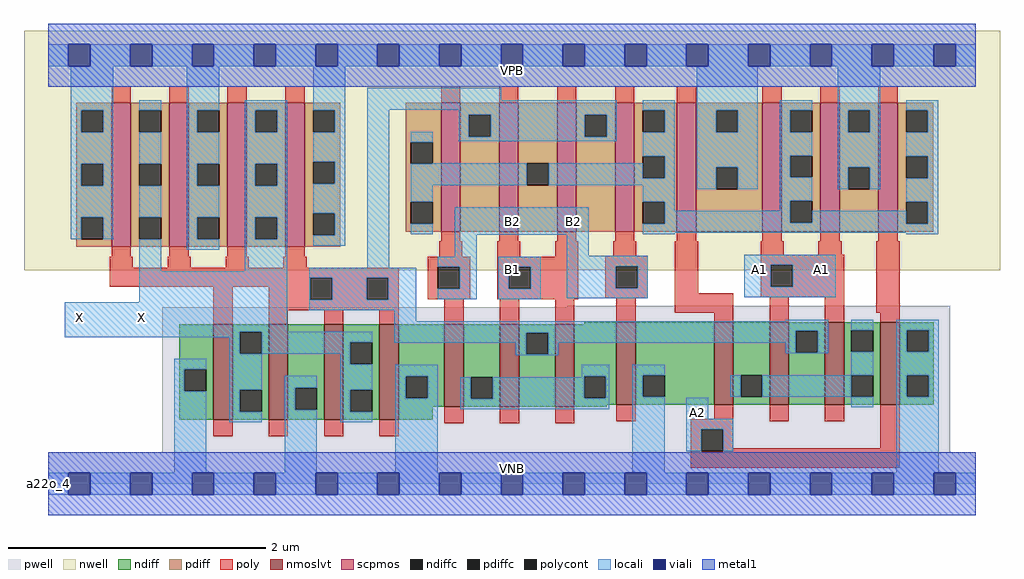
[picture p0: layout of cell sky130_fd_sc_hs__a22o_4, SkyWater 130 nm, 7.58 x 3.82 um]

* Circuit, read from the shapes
.subckt sky130_fd_sc_hs__a22o_4 A1 A2 B1 B2 VGND VNB VPB VPWR X
XM1 X n1 VGND VNB sky130_fd_pr__nfet_01v8_lvt w=0.74 l=0.15 m=4
XM2 n2 B2 VGND VNB sky130_fd_pr__nfet_01v8_lvt w=0.64 l=0.15 m=2
XM3 n1 B1 n2 VNB sky130_fd_pr__nfet_01v8_lvt w=0.64 l=0.15 m=2
XM4 n3 A2 VGND VNB sky130_fd_pr__nfet_01v8_lvt w=0.64 l=0.15 m=2
XM5 n1 A1 n3 VNB sky130_fd_pr__nfet_01v8_lvt w=0.64 l=0.15 m=2
XM6 X n1 VPWR VPB sky130_fd_pr__pfet_01v8 w=1.12 l=0.15 m=4
XM7 n1 B2 n4 VPB sky130_fd_pr__pfet_01v8 w=1 l=0.15 m=2
XM8 n4 B1 n1 VPB sky130_fd_pr__pfet_01v8 w=1 l=0.15 m=2
XM9 VPWR A2 n4 VPB sky130_fd_pr__pfet_01v8 w=1 l=0.15 m=2
XM10 n4 A1 VPWR VPB sky130_fd_pr__pfet_01v8 w=1 l=0.15 m=2
.ends

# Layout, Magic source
magic
tech sky130A
magscale 1 2
<< nwell >>
rect -38 332 1478 704
<< pwell >>
rect 806 274 1401 277
rect 177 49 1401 274
rect 0 0 1440 49
<< scpmos >>
rect 98 368 128 592
rect 188 368 218 592
rect 278 368 308 592
rect 368 368 398 592
rect 610 392 640 592
rect 700 392 730 592
rect 790 392 820 592
rect 880 392 910 592
rect 976 392 1006 592
rect 1109 392 1139 592
rect 1199 392 1229 592
rect 1289 392 1319 592
<< nmoslvt >>
rect 256 100 286 248
rect 342 100 372 248
rect 428 100 458 248
rect 514 100 544 248
rect 615 120 645 248
rect 701 120 731 248
rect 787 120 817 248
rect 882 123 912 251
rect 1034 123 1064 251
rect 1120 123 1150 251
rect 1206 123 1236 251
rect 1292 123 1322 251
<< ndiff >>
rect 832 248 882 251
rect 203 178 256 248
rect 203 144 211 178
rect 245 144 256 178
rect 203 100 256 144
rect 286 236 342 248
rect 286 202 297 236
rect 331 202 342 236
rect 286 146 342 202
rect 286 112 297 146
rect 331 112 342 146
rect 286 100 342 112
rect 372 149 428 248
rect 372 115 383 149
rect 417 115 428 149
rect 372 100 428 115
rect 458 220 514 248
rect 458 186 469 220
rect 503 186 514 220
rect 458 146 514 186
rect 458 112 469 146
rect 503 112 514 146
rect 458 100 514 112
rect 544 167 615 248
rect 544 133 555 167
rect 589 133 615 167
rect 544 120 615 133
rect 645 166 701 248
rect 645 132 656 166
rect 690 132 701 166
rect 645 120 701 132
rect 731 235 787 248
rect 731 201 742 235
rect 776 201 787 235
rect 731 120 787 201
rect 817 167 882 248
rect 817 133 832 167
rect 866 133 882 167
rect 817 123 882 133
rect 912 169 1034 251
rect 912 135 923 169
rect 957 135 1034 169
rect 912 123 1034 135
rect 1064 169 1120 251
rect 1064 135 1075 169
rect 1109 135 1120 169
rect 1064 123 1120 135
rect 1150 238 1206 251
rect 1150 204 1161 238
rect 1195 204 1206 238
rect 1150 123 1206 204
rect 1236 239 1292 251
rect 1236 205 1247 239
rect 1281 205 1292 239
rect 1236 169 1292 205
rect 1236 135 1247 169
rect 1281 135 1292 169
rect 1236 123 1292 135
rect 1322 239 1375 251
rect 1322 205 1333 239
rect 1367 205 1375 239
rect 1322 169 1375 205
rect 1322 135 1333 169
rect 1367 135 1375 169
rect 1322 123 1375 135
rect 817 120 867 123
rect 544 100 597 120
<< pdiff >>
rect 43 580 98 592
rect 43 546 51 580
rect 85 546 98 580
rect 43 497 98 546
rect 43 463 51 497
rect 85 463 98 497
rect 43 414 98 463
rect 43 380 51 414
rect 85 380 98 414
rect 43 368 98 380
rect 128 580 188 592
rect 128 546 141 580
rect 175 546 188 580
rect 128 497 188 546
rect 128 463 141 497
rect 175 463 188 497
rect 128 414 188 463
rect 128 380 141 414
rect 175 380 188 414
rect 128 368 188 380
rect 218 580 278 592
rect 218 546 231 580
rect 265 546 278 580
rect 218 497 278 546
rect 218 463 231 497
rect 265 463 278 497
rect 218 414 278 463
rect 218 380 231 414
rect 265 380 278 414
rect 218 368 278 380
rect 308 580 368 592
rect 308 546 321 580
rect 355 546 368 580
rect 308 497 368 546
rect 308 463 321 497
rect 355 463 368 497
rect 308 414 368 463
rect 308 380 321 414
rect 355 380 368 414
rect 308 368 368 380
rect 398 580 453 592
rect 398 546 411 580
rect 445 546 453 580
rect 398 500 453 546
rect 398 466 411 500
rect 445 466 453 500
rect 398 420 453 466
rect 398 386 411 420
rect 445 386 453 420
rect 555 531 610 592
rect 555 497 563 531
rect 597 497 610 531
rect 555 438 610 497
rect 555 404 563 438
rect 597 404 610 438
rect 555 392 610 404
rect 640 573 700 592
rect 640 539 653 573
rect 687 539 700 573
rect 640 392 700 539
rect 730 498 790 592
rect 730 464 743 498
rect 777 464 790 498
rect 730 392 790 464
rect 820 573 880 592
rect 820 539 833 573
rect 867 539 880 573
rect 820 392 880 539
rect 910 580 976 592
rect 910 546 923 580
rect 957 546 976 580
rect 910 509 976 546
rect 910 475 923 509
rect 957 475 976 509
rect 910 438 976 475
rect 910 404 923 438
rect 957 404 976 438
rect 910 392 976 404
rect 1006 580 1109 592
rect 1006 546 1037 580
rect 1071 546 1109 580
rect 1006 492 1109 546
rect 1006 458 1037 492
rect 1071 458 1109 492
rect 1006 392 1109 458
rect 1139 580 1199 592
rect 1139 546 1152 580
rect 1186 546 1199 580
rect 1139 510 1199 546
rect 1139 476 1152 510
rect 1186 476 1199 510
rect 1139 440 1199 476
rect 1139 406 1152 440
rect 1186 406 1199 440
rect 1139 392 1199 406
rect 1229 580 1289 592
rect 1229 546 1242 580
rect 1276 546 1289 580
rect 1229 492 1289 546
rect 1229 458 1242 492
rect 1276 458 1289 492
rect 1229 392 1289 458
rect 1319 580 1374 592
rect 1319 546 1332 580
rect 1366 546 1374 580
rect 1319 509 1374 546
rect 1319 475 1332 509
rect 1366 475 1374 509
rect 1319 438 1374 475
rect 1319 404 1332 438
rect 1366 404 1374 438
rect 1319 392 1374 404
rect 398 368 453 386
<< ndiffc >>
rect 211 144 245 178
rect 297 202 331 236
rect 297 112 331 146
rect 383 115 417 149
rect 469 186 503 220
rect 469 112 503 146
rect 555 133 589 167
rect 656 132 690 166
rect 742 201 776 235
rect 832 133 866 167
rect 923 135 957 169
rect 1075 135 1109 169
rect 1161 204 1195 238
rect 1247 205 1281 239
rect 1247 135 1281 169
rect 1333 205 1367 239
rect 1333 135 1367 169
<< pdiffc >>
rect 51 546 85 580
rect 51 463 85 497
rect 51 380 85 414
rect 141 546 175 580
rect 141 463 175 497
rect 141 380 175 414
rect 231 546 265 580
rect 231 463 265 497
rect 231 380 265 414
rect 321 546 355 580
rect 321 463 355 497
rect 321 380 355 414
rect 411 546 445 580
rect 411 466 445 500
rect 411 386 445 420
rect 563 497 597 531
rect 563 404 597 438
rect 653 539 687 573
rect 743 464 777 498
rect 833 539 867 573
rect 923 546 957 580
rect 923 475 957 509
rect 923 404 957 438
rect 1037 546 1071 580
rect 1037 458 1071 492
rect 1152 546 1186 580
rect 1152 476 1186 510
rect 1152 406 1186 440
rect 1242 546 1276 580
rect 1242 458 1276 492
rect 1332 546 1366 580
rect 1332 475 1366 509
rect 1332 404 1366 438
<< poly >>
rect 98 592 128 618
rect 188 592 218 618
rect 278 592 308 618
rect 368 592 398 618
rect 610 592 640 618
rect 700 592 730 618
rect 790 592 820 618
rect 880 592 910 618
rect 976 592 1006 618
rect 1109 592 1139 618
rect 1199 592 1229 618
rect 1289 592 1319 618
rect 610 377 640 392
rect 700 377 730 392
rect 790 377 820 392
rect 880 377 910 392
rect 976 377 1006 392
rect 1109 377 1139 392
rect 1199 377 1229 392
rect 1289 377 1319 392
rect 98 353 128 368
rect 188 353 218 368
rect 278 353 308 368
rect 368 353 398 368
rect 607 353 643 377
rect 697 353 733 377
rect 787 353 823 377
rect 877 354 913 377
rect 95 336 131 353
rect 185 336 221 353
rect 275 336 311 353
rect 365 336 401 353
rect 589 337 655 353
rect 95 320 544 336
rect 95 306 407 320
rect 256 248 286 306
rect 342 286 407 306
rect 441 286 494 320
rect 528 286 544 320
rect 589 303 605 337
rect 639 303 655 337
rect 589 287 655 303
rect 697 337 823 353
rect 697 303 715 337
rect 749 303 823 337
rect 697 287 823 303
rect 865 338 931 354
rect 865 304 881 338
rect 915 304 931 338
rect 865 288 931 304
rect 973 296 1009 377
rect 1106 356 1142 377
rect 1196 356 1232 377
rect 1106 340 1236 356
rect 1106 306 1122 340
rect 1156 306 1236 340
rect 342 270 544 286
rect 342 248 372 270
rect 428 248 458 270
rect 514 248 544 270
rect 615 248 645 287
rect 701 248 731 287
rect 787 248 817 287
rect 882 251 912 288
rect 973 266 1064 296
rect 1106 290 1236 306
rect 1034 251 1064 266
rect 1120 251 1150 290
rect 1206 251 1236 290
rect 1286 266 1322 377
rect 1292 251 1322 266
rect 256 74 286 100
rect 342 74 372 100
rect 428 74 458 100
rect 514 74 544 100
rect 615 94 645 120
rect 701 94 731 120
rect 787 94 817 120
rect 882 97 912 123
rect 1034 101 1064 123
rect 998 85 1064 101
rect 1120 97 1150 123
rect 1206 97 1236 123
rect 998 51 1014 85
rect 1048 55 1064 85
rect 1292 55 1322 123
rect 1048 51 1322 55
rect 998 25 1322 51
<< polycont >>
rect 407 286 441 320
rect 494 286 528 320
rect 605 303 639 337
rect 715 303 749 337
rect 881 304 915 338
rect 1122 306 1156 340
rect 1014 51 1048 85
<< locali >>
rect 0 649 31 683
rect 65 649 127 683
rect 161 649 223 683
rect 257 649 319 683
rect 353 649 415 683
rect 449 649 511 683
rect 545 649 607 683
rect 641 649 703 683
rect 737 649 799 683
rect 833 649 895 683
rect 929 649 991 683
rect 1025 649 1087 683
rect 1121 649 1183 683
rect 1217 649 1279 683
rect 1313 649 1375 683
rect 1409 649 1440 683
rect 35 580 101 649
rect 35 546 51 580
rect 85 546 101 580
rect 35 497 101 546
rect 35 463 51 497
rect 85 463 101 497
rect 35 414 101 463
rect 35 380 51 414
rect 85 380 101 414
rect 141 580 175 596
rect 141 497 175 546
rect 141 414 175 463
rect 141 330 175 380
rect 215 580 265 649
rect 215 546 231 580
rect 215 497 265 546
rect 215 463 231 497
rect 215 414 265 463
rect 215 380 231 414
rect 215 364 265 380
rect 305 580 371 596
rect 305 546 321 580
rect 355 546 371 580
rect 305 497 371 546
rect 305 463 321 497
rect 355 463 371 497
rect 305 414 371 463
rect 305 380 321 414
rect 355 380 371 414
rect 305 330 371 380
rect 411 580 461 649
rect 445 546 461 580
rect 411 500 461 546
rect 445 466 461 500
rect 411 420 461 466
rect 445 386 461 420
rect 411 370 461 386
rect 495 596 703 615
rect 495 581 883 596
rect 495 336 529 581
rect 637 573 883 581
rect 563 531 597 547
rect 637 539 653 573
rect 687 539 833 573
rect 867 539 883 573
rect 637 532 883 539
rect 923 580 973 596
rect 957 546 973 580
rect 923 509 973 546
rect 597 497 743 498
rect 563 464 743 497
rect 777 475 923 498
rect 957 475 973 509
rect 777 464 973 475
rect 563 438 597 464
rect 923 438 973 464
rect 1007 580 1102 649
rect 1007 546 1037 580
rect 1071 546 1102 580
rect 1007 492 1102 546
rect 1007 458 1037 492
rect 1071 458 1102 492
rect 1136 580 1186 596
rect 1136 546 1152 580
rect 1136 510 1186 546
rect 1136 476 1152 510
rect 563 388 597 404
rect 631 387 839 430
rect 957 424 973 438
rect 1136 440 1186 476
rect 1226 580 1292 649
rect 1226 546 1242 580
rect 1276 546 1292 580
rect 1226 492 1292 546
rect 1226 458 1242 492
rect 1276 458 1292 492
rect 1332 580 1382 596
rect 1366 546 1382 580
rect 1332 509 1382 546
rect 1366 475 1382 509
rect 1136 424 1152 440
rect 957 406 1152 424
rect 1332 438 1382 475
rect 1186 406 1332 424
rect 957 404 1332 406
rect 1366 404 1382 438
rect 923 390 1382 404
rect 923 388 973 390
rect 1332 388 1382 390
rect 631 353 665 387
rect 805 354 839 387
rect 605 337 665 353
rect 141 282 371 330
rect 25 236 371 282
rect 405 320 571 336
rect 405 286 407 320
rect 441 286 494 320
rect 528 286 571 320
rect 639 303 665 337
rect 605 287 665 303
rect 699 337 765 353
rect 699 303 715 337
rect 749 303 765 337
rect 699 287 765 303
rect 805 338 931 354
rect 805 304 881 338
rect 915 304 931 338
rect 805 288 931 304
rect 1081 340 1223 356
rect 1081 306 1122 340
rect 1156 306 1223 340
rect 1081 290 1223 306
rect 405 270 571 286
rect 537 253 571 270
rect 1145 253 1211 255
rect 537 238 1211 253
rect 25 228 297 236
rect 281 202 297 228
rect 331 220 503 236
rect 331 202 469 220
rect 195 178 245 194
rect 195 144 211 178
rect 195 17 245 144
rect 281 146 331 202
rect 453 186 469 202
rect 537 235 1161 238
rect 537 219 742 235
rect 726 201 742 219
rect 776 219 1161 235
rect 776 201 792 219
rect 1145 204 1161 219
rect 1195 204 1211 238
rect 1145 203 1211 204
rect 1247 239 1281 255
rect 726 200 792 201
rect 281 112 297 146
rect 281 96 331 112
rect 367 149 417 168
rect 367 115 383 149
rect 367 17 417 115
rect 453 146 503 186
rect 453 112 469 146
rect 453 96 503 112
rect 539 167 605 185
rect 539 133 555 167
rect 589 133 605 167
rect 828 167 871 185
rect 828 166 832 167
rect 539 17 605 133
rect 640 132 656 166
rect 690 133 832 166
rect 866 133 871 167
rect 690 132 871 133
rect 640 116 871 132
rect 907 169 957 185
rect 1247 169 1281 205
rect 907 135 923 169
rect 1059 135 1075 169
rect 1109 135 1247 169
rect 907 17 957 135
rect 991 101 1025 134
rect 1247 119 1281 135
rect 1317 239 1383 255
rect 1317 205 1333 239
rect 1367 205 1383 239
rect 1317 169 1383 205
rect 1317 135 1333 169
rect 1367 135 1383 169
rect 991 85 1064 101
rect 991 51 1014 85
rect 1048 51 1064 85
rect 1317 17 1383 135
rect 0 -17 31 17
rect 65 -17 127 17
rect 161 -17 223 17
rect 257 -17 319 17
rect 353 -17 415 17
rect 449 -17 511 17
rect 545 -17 607 17
rect 641 -17 703 17
rect 737 -17 799 17
rect 833 -17 895 17
rect 929 -17 991 17
rect 1025 -17 1087 17
rect 1121 -17 1183 17
rect 1217 -17 1279 17
rect 1313 -17 1375 17
rect 1409 -17 1440 17
<< viali >>
rect 31 649 65 683
rect 127 649 161 683
rect 223 649 257 683
rect 319 649 353 683
rect 415 649 449 683
rect 511 649 545 683
rect 607 649 641 683
rect 703 649 737 683
rect 799 649 833 683
rect 895 649 929 683
rect 991 649 1025 683
rect 1087 649 1121 683
rect 1183 649 1217 683
rect 1279 649 1313 683
rect 1375 649 1409 683
rect 31 -17 65 17
rect 127 -17 161 17
rect 223 -17 257 17
rect 319 -17 353 17
rect 415 -17 449 17
rect 511 -17 545 17
rect 607 -17 641 17
rect 703 -17 737 17
rect 799 -17 833 17
rect 895 -17 929 17
rect 991 -17 1025 17
rect 1087 -17 1121 17
rect 1183 -17 1217 17
rect 1279 -17 1313 17
rect 1375 -17 1409 17
<< metal1 >>
rect 0 683 1440 715
rect 0 649 31 683
rect 65 649 127 683
rect 161 649 223 683
rect 257 649 319 683
rect 353 649 415 683
rect 449 649 511 683
rect 545 649 607 683
rect 641 649 703 683
rect 737 649 799 683
rect 833 649 895 683
rect 929 649 991 683
rect 1025 649 1087 683
rect 1121 649 1183 683
rect 1217 649 1279 683
rect 1313 649 1375 683
rect 1409 649 1440 683
rect 0 617 1440 649
rect 0 17 1440 49
rect 0 -17 31 17
rect 65 -17 127 17
rect 161 -17 223 17
rect 257 -17 319 17
rect 353 -17 415 17
rect 449 -17 511 17
rect 545 -17 607 17
rect 641 -17 703 17
rect 737 -17 799 17
rect 833 -17 895 17
rect 929 -17 991 17
rect 1025 -17 1087 17
rect 1121 -17 1183 17
rect 1217 -17 1279 17
rect 1313 -17 1375 17
rect 1409 -17 1440 17
rect 0 -49 1440 -17
<< labels >>
rlabel comment s 0 0 0 0 4 a22o_4
flabel pwell s 0 0 1440 49 0 FreeSans 200 0 0 0 VNB
port 6 nsew ground bidirectional
flabel nwell s 0 617 1440 666 0 FreeSans 200 0 0 0 VPB
port 7 nsew power bidirectional
flabel metal1 s 0 617 1440 666 0 FreeSans 340 0 0 0 VPWR
port 8 nsew power bidirectional
flabel metal1 s 0 0 1440 49 0 FreeSans 340 0 0 0 VGND
port 5 nsew ground bidirectional
flabel locali s 31 242 65 276 0 FreeSans 340 0 0 0 X
port 9 nsew signal output
flabel locali s 127 242 161 276 0 FreeSans 340 0 0 0 X
port 9 nsew signal output
flabel locali s 703 390 737 424 0 FreeSans 340 0 0 0 B2
port 4 nsew signal input
flabel locali s 799 390 833 424 0 FreeSans 340 0 0 0 B2
port 4 nsew signal input
flabel locali s 703 316 737 350 0 FreeSans 340 0 0 0 B1
port 3 nsew signal input
flabel locali s 991 94 1025 128 0 FreeSans 340 0 0 0 A2
port 2 nsew signal input
flabel locali s 1087 316 1121 350 0 FreeSans 340 0 0 0 A1
port 1 nsew signal input
flabel locali s 1183 316 1217 350 0 FreeSans 340 0 0 0 A1
port 1 nsew signal input
<< properties >>
string LEFsite unit
string LEFclass CORE
string FIXED_BBOX 0 0 1440 666
string GDS_FILE $PDKPATH/libs.ref/sky130_fd_sc_hs/gds/sky130_fd_sc_hs.gds
string LEFsymmetry X Y
string GDS_END 1183298
string GDS_START 1171942
<< end >>
